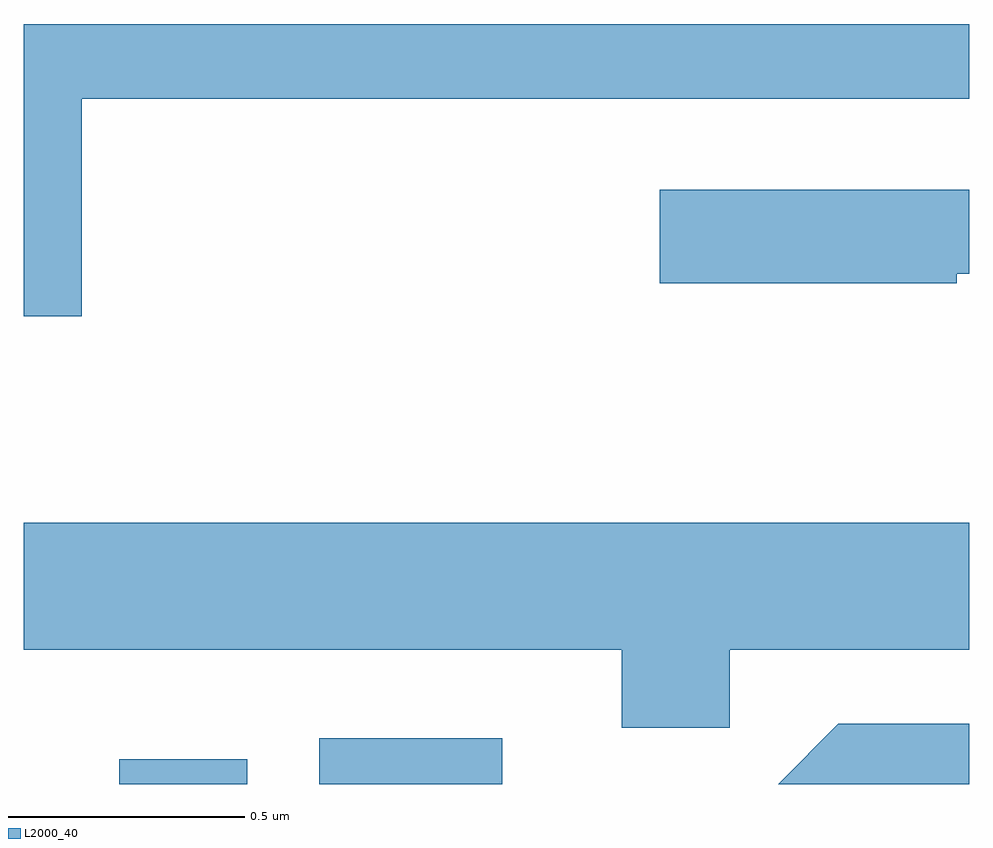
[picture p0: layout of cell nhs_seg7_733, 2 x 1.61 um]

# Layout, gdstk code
import gdstk
lib = gdstk.Library(unit=1e-6, precision=1e-09)
def R(c, l, rs):  # rectangles x0, y0, x1, y1
    for r in rs: c.add(gdstk.rectangle(r[:2], r[2:], *l))
def P(c, l, *ps):  # polygons
    for p in ps: c.add(gdstk.Polygon(p, *l))
L2000_40 = (2000, 40)

nhs_seg7_733 = lib.new_cell('nhs_seg7_733')
R(nhs_seg7_733, L2000_40, [(190.813,1716.252,191.084,1716.304), (191.236,1716.252,191.623,1716.349)])
P(nhs_seg7_733, L2000_40, [(190.734,1717.701),(192.611,1717.701),(192.611,1717.859),(190.611,1717.859),(190.611,1717.241),(190.734,1717.241)],
  [(192.584,1717.331),(192.611,1717.331),(192.611,1717.509),(191.956,1717.509),(191.956,1717.311),(192.584,1717.311)],
  [(192.104,1716.536),(192.611,1716.536),(192.611,1716.804),(190.611,1716.804),(190.611,1716.536),(191.876,1716.536),(191.876,1716.371),(192.104,1716.371)],
  [(192.611,1716.379),(192.334,1716.379),(192.207,1716.252),(192.611,1716.252)])

lib.write_gds('nhs_seg7_733.gds')
